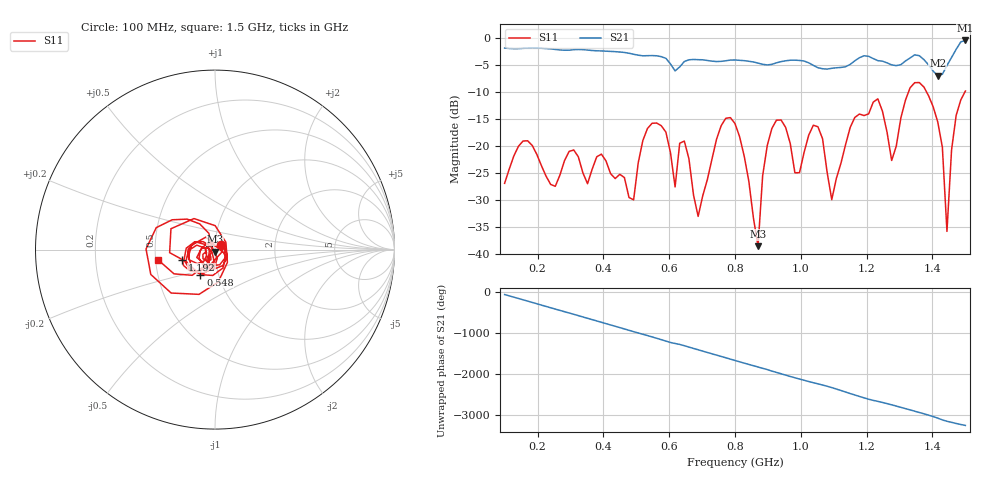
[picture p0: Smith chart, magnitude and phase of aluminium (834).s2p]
! NanoVNA-App
! Date: 2025-09-25 15:01:46
! Start: 100MHz Stop: 1,5GHz Points: 101
! S-Parameter data: F S11 S21 S12 S22
# Hz S RI R 50
!  Frequency  S11_Real  S11_Imag  S21_Real  S21_Imag  S12_Real  S12_Imag  S22_Real  S22_Imag
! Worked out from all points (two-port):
!   101 points, 100 MHz to 1.5 GHz, reference 50 ohm
!   highest |S21| = -0.51 dB at 1.5 GHz (marker M1); lowest = -7.0 dB at 1.416 GHz (marker M2)
!   |S21| within 3 dB of the highest: start of sweep to 575.9 MHz; 1.459 GHz to end of sweep (the widest 2 of 4)
!   lowest |S11| = -38.6 dB at 870 MHz (marker M3), VSWR 1.02, Z = 50 - j1.18 ohm
!   |S11| at or under -10 dB: start of sweep to 1.328 GHz; 1.382 GHz to 1.499 GHz (117.3 MHz wide, 8.15 % of centre)
!   S12 and S22 are empty: the file has one direction only
!   S11 on the Smith chart (normalised r, x): 100 MHz: 1.07, +0.06; 548 MHz: 0.82, -0.23; 1.192 GHz: 0.69, -0.08; 1.5 GHz: 0.52, -0.07
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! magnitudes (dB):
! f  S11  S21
! 100 MHz  -27.0  -1.9
! 156 MHz  -19.1  -2.0
! 338 MHz  -25.0  -2.2
! 492 MHz  -30.0  -3.1
! 548 MHz  -15.8  -3.3
! 576 MHz  -16.3  -3.5
! 618 MHz  -27.6  -6.1
! 646 MHz  -19.1  -4.4
! 688 MHz  -33.1  -4.1
! 800 MHz  -15.9  -4.1
! 870 MHz  -38.6  -4.7
! 912 MHz  -16.8  -4.9
! 996 MHz  -25.0  -4.2
! 1.038 GHz  -16.2  -5.1
! 1.094 GHz  -30.0  -5.7
! 1.192 GHz  -14.4  -3.3
! 1.276 GHz  -22.7  -5.0
! 1.346 GHz  -8.3  -3.2
! 1.416 GHz  -15.6  -7.0
! 1.444 GHz  -35.8  -5.1
! 1.458 GHz  -20.8  -3.7
! 1.5 GHz  -9.9  -0.5
